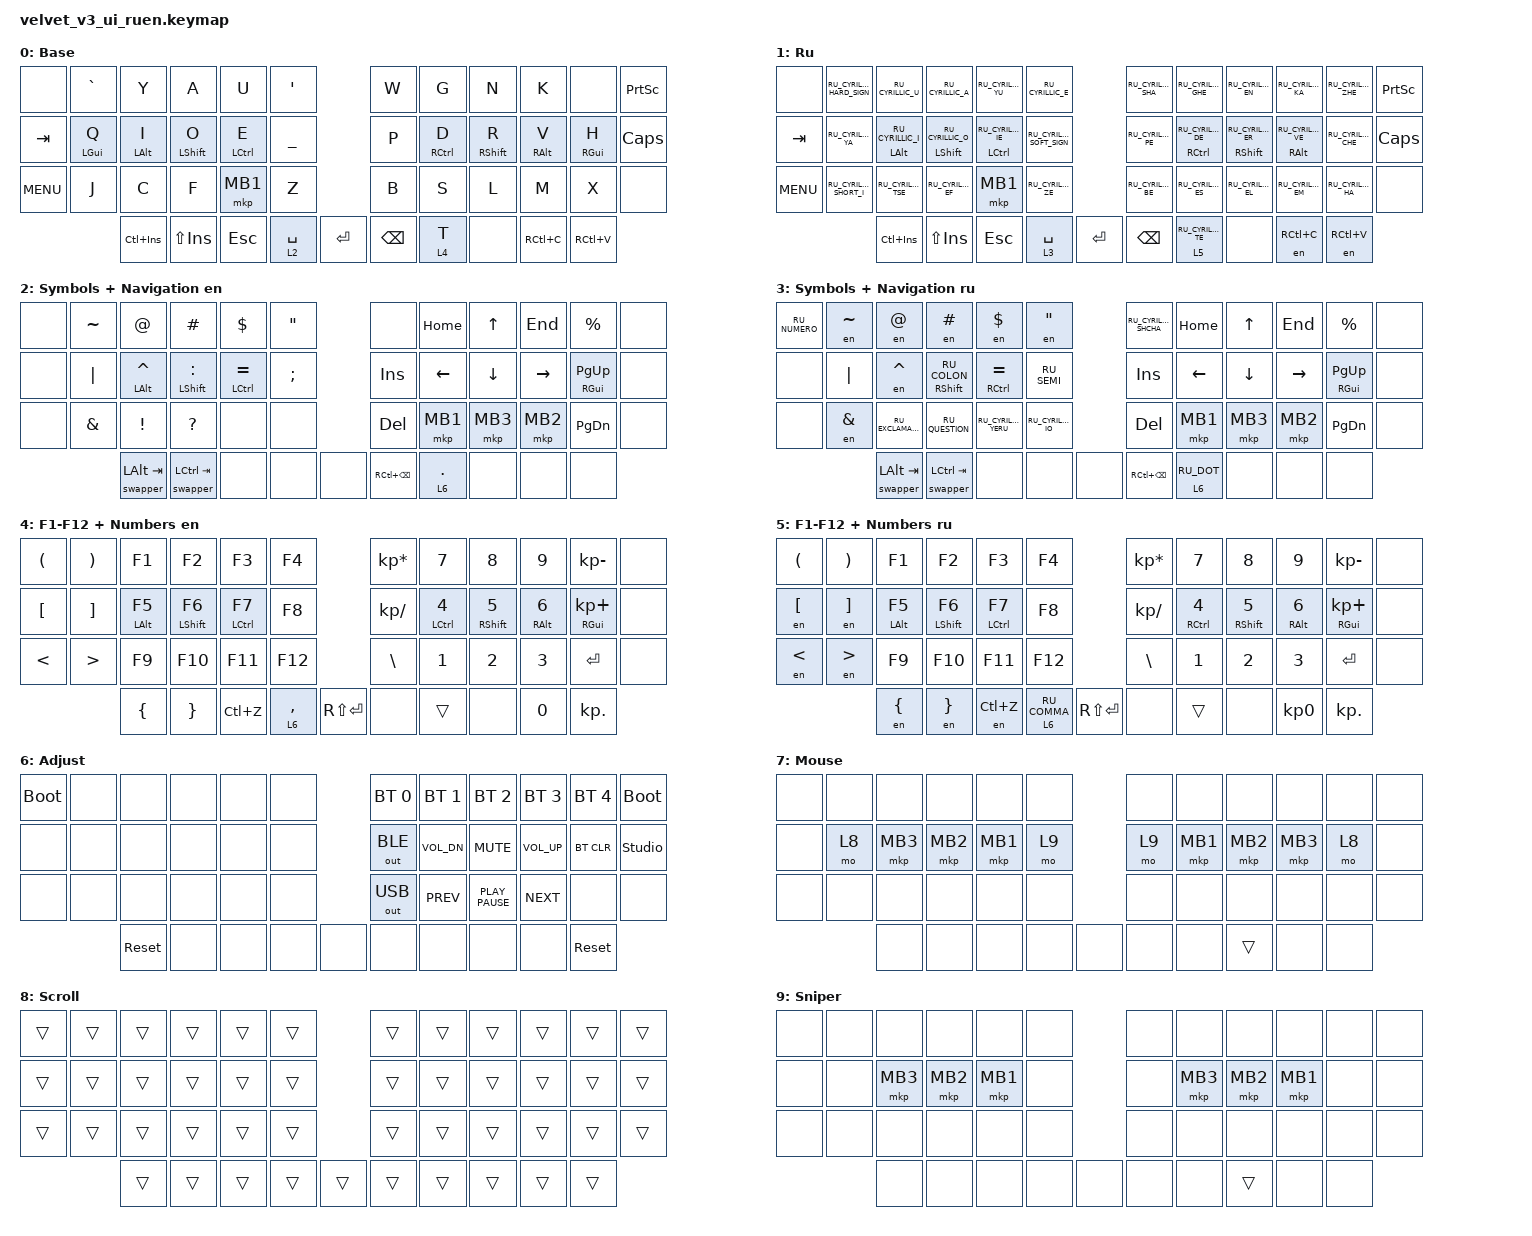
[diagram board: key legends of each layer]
#include "keys_ru.h"
#include <dt-bindings/zmk/input_transform.h>
#include <input/processors.dtsi>
#include <zephyr/dt-bindings/input/input-event-codes.h>
#include <behaviors.dtsi>
#include <dt-bindings/zmk/bt.h>
#include <dt-bindings/zmk/keys.h>
#include <dt-bindings/zmk/outputs.h>
#include <dt-bindings/zmk/pointing.h>

/ {
    behaviors {
        cap_sen: cap_sen {
            compatible = "zmk,behavior-hold-tap";
            label = "CAP_SEN";
            bindings = <&mo>, <&kp>;

            #binding-cells = <2>;
            tapping-term-ms = <150>;
            hold-while-undecided;
        };

        mouse_layer: mouse_layer {
            compatible = "zmk,behavior-sticky-key";
            label = "MOUSE_LAYER";
            bindings = <&mo>;
            #binding-cells = <1>;
            release-after-ms = <200>;
        };

        stiky_swap: stiky_swap {
            compatible = "zmk,behavior-sticky-key";
            label = "STIKY_SWAP";
            bindings = <&kp>;
            #binding-cells = <1>;
            release-after-ms = <1000>;
        };

        hml: home_row_mod_left {
            compatible = "zmk,behavior-hold-tap";
            label = "HRM_LEFT";
            #binding-cells = <2>;
            bindings = <&kp>, <&kp>;

            tapping-term-ms = <280>;
            flavor = "balanced";
            quick-tap-ms = <175>;
            require-prior-idle-ms = <125>;
            hold-trigger-key-positions = <6 7 8 9 10 11 23 22 21 20 19 18 30 31 32 33 34 35 44 45 42 41 43>;
            hold-trigger-on-release;
        };

        hmr: home_row_mod_right {
            compatible = "zmk,behavior-hold-tap";
            label = "HRM_RIGHT";
            #binding-cells = <2>;
            bindings = <&kp>, <&kp>;

            tapping-term-ms = <280>;
            flavor = "balanced";
            quick-tap-ms = <175>;
            require-prior-idle-ms = <125>;
            hold-trigger-on-release;
            hold-trigger-key-positions = <0 1 2 3 4 4 5 12 13 14 15 16 17 29 27 28 26 25 24 37 36 38 39 40>;
        };

        lt2: lt2 {
            compatible = "zmk,behavior-hold-tap";
            label = "LT2";
            bindings = <&mo>, <&kp>;

            #binding-cells = <2>;
            tapping-term-ms = <250>;
            hold-while-undecided;
            quick-tap-ms = <175>;
            require-prior-idle-ms = <125>;
        };

        zip_auto_mouse: zip_auto_mouse {
            compatible = "zmk,input-processor-temp-layer";
            #input-processor-cells = <2>;
            require-prior-idle-ms = <800>;
            excluded-positions = <>;
        };
    };

    combos {
        compatible = "zmk,combos";

        cmben {
            bindings = <&layer_en>;
            key-positions = <3 2>;
        };

        cmbru {
            bindings = <&layer_ru>;
            key-positions = <8 9>;
        };

        LeftReset {
            bindings = <&sys_reset>;
            key-positions = <12 13>;
            timeout-ms = <100>;
        };

        RightReset {
            bindings = <&sys_reset>;
            key-positions = <23 22>;
            timeout-ms = <100>;
        };

        LeftMapLoad {
            bindings = <&bootloader>;
            key-positions = <24 25>;
            require-prior-idle-ms = <100>;
        };

        RightMapLoad {
            bindings = <&bootloader>;
            key-positions = <34 35>;
            require-prior-idle-ms = <100>;
        };
    };

    macros {
        to_ru: to_ru {
            compatible = "zmk,behavior-macro";
            #binding-cells = <0>;
            bindings =
                <&macro_press>,
                <&kp RIGHT_CONTROL>,
                <&macro_wait_time 25>,
                <&kp K_CONTEXT_MENU>,
                <&macro_pause_for_release>,
                <&macro_release>,
                <&kp K_APP &kp RIGHT_CONTROL>,
                <&macro_tap>,
                <&macro_wait_time 50>;

            label = "TO_RU";
            wait-ms = <0>;
            tap-ms = <30>;
        };

        to_en: to_en {
            compatible = "zmk,behavior-macro";
            #binding-cells = <0>;
            bindings =
                <&macro_press>,
                <&kp LCTRL>,
                <&macro_wait_time 25>,
                <&kp LEFT_GUI>,
                <&macro_pause_for_release>,
                <&macro_release>,
                <&kp LEFT_GUI &kp LEFT_CONTROL>,
                <&macro_tap>,
                <&macro_wait_time 50>;

            label = "TO_EN";
            wait-ms = <0>;
            tap-ms = <30>;
        };

        en: en {
            compatible = "zmk,behavior-macro-one-param";
            #binding-cells = <1>;
            bindings =
                <&macro_press>,
                <&kp LEFT_CONTROL>,
                <&macro_wait_time 25>,
                <&kp LEFT_GUI>,
                <&macro_pause_for_release>,
                <&macro_release>,
                <&kp LEFT_GUI &kp LEFT_CONTROL>,
                <&macro_wait_time 25>,
                <&macro_press>,
                <&macro_param_1to1 &kp MACRO_PLACEHOLDER>,
                <&macro_pause_for_release>,
                <&macro_release>,
                <&macro_param_1to1 &kp MACRO_PLACEHOLDER>,
                <&macro_wait_time 25>,
                <&macro_press>,
                <&kp RIGHT_CONTROL>,
                <&macro_wait_time 25>,
                <&kp K_CONTEXT_MENU>,
                <&macro_pause_for_release>,
                <&macro_release>,
                <&kp K_CONTEXT_MENU &kp RIGHT_CONTROL>,
                <&macro_tap>;

            label = "EN";
            wait-ms = <0>;
            tap-ms = <30>;
        };

        layer_en: layer_en {
            compatible = "zmk,behavior-macro";
            #binding-cells = <0>;
            bindings = <&to 0 &to_en>;
            label = "LAYER_EN";
            wait-ms = <0>;
            tap-ms = <30>;
        };

        layer_ru: layer_ru {
            compatible = "zmk,behavior-macro";
            #binding-cells = <0>;
            bindings = <&to 1 &to_ru>;
            label = "LAYER_RU";
            wait-ms = <0>;
            tap-ms = <30>;
        };

        sen_mo: sen_mo {
            compatible = "zmk,behavior-macro-one-param";
            #binding-cells = <1>;
            bindings =
                <&macro_wait_time 150>,
                <&macro_press>,
                <&macro_param_1to1 &mo MACRO_PLACEHOLDER>,
                <&macro_pause_for_release>,
                <&macro_release>,
                <&macro_param_1to1 &mo MACRO_PLACEHOLDER>,
                <&macro_press>;

            label = "SEN_MO";
        };

        swapper: swapper {
            compatible = "zmk,behavior-macro-two-param";
            #binding-cells = <2>;
            bindings =
                <&macro_press>,
                <&macro_param_1to1 &kp MACRO_PLACEHOLDER>,
                <&macro_tap>,
                <&macro_param_2to1 &kp MACRO_PLACEHOLDER &macro_param_1to1 &stiky_swap MACRO_PLACEHOLDER>,
                <&macro_release>,
                <&macro_param_1to1 &kp MACRO_PLACEHOLDER>;

            label = "SWAPPER";
        };
    };

    keymap {
        compatible = "zmk,keymap";

        en {
            bindings = <
&none       &kp GRAVE        &kp Y            &kp A              &kp U                &kp SQT                                   &kp W     &kp G         &kp N               &kp K             &none             &kp PRINTSCREEN
&kp TAB     &hml LEFT_GUI Q  &hml LEFT_ALT I  &hml LEFT_SHIFT O  &hml LEFT_CONTROL E  &kp UNDER                                 &kp P     &hmr RCTRL D  &hmr RIGHT_SHIFT R  &hmr RIGHT_ALT V  &hmr RIGHT_GUI H  &kp CAPSLOCK
&kp K_MENU  &kp J            &kp C            &kp F              &mkp MB1             &kp Z                                     &kp B     &kp S         &kp L               &kp M             &kp X             &none
                             &kp LC(INSERT)   &kp LS(INSERT)     &kp ESC              &lt2 2 SPACE  &kp ENTER    &kp BACKSPACE  &lt2 4 T  &none         &kp RC(C)           &kp RC(V)
            >;

            display-name = "Base";
        };

        ru {
            display-name = "Ru";
            bindings = <
&none       &kp RU_CYRILLIC_HARD_SIGN  &kp RU_CYRILLIC_U            &kp RU_CYRILLIC_A              &kp RU_CYRILLIC_YU                &kp RU_CYRILLIC_E                                      &kp RU_CYRILLIC_SHA    &kp RU_CYRILLIC_GHE                &kp RU_CYRILLIC_EN               &kp RU_CYRILLIC_KA             &kp RU_CYRILLIC_ZHE  &kp PRINTSCREEN
&kp TAB     &kp RU_CYRILLIC_YA         &hml LEFT_ALT RU_CYRILLIC_I  &hml LEFT_SHIFT RU_CYRILLIC_O  &hml LEFT_CONTROL RU_CYRILLIC_IE  &kp RU_CYRILLIC_SOFT_SIGN                              &kp RU_CYRILLIC_PE     &hmr RIGHT_CONTROL RU_CYRILLIC_DE  &hmr RIGHT_SHIFT RU_CYRILLIC_ER  &hmr RIGHT_ALT RU_CYRILLIC_VE  &kp RU_CYRILLIC_CHE  &kp CAPSLOCK
&kp K_MENU  &kp RU_CYRILLIC_SHORT_I    &kp RU_CYRILLIC_TSE          &kp RU_CYRILLIC_EF             &mkp MB1                          &kp RU_CYRILLIC_ZE                                     &kp RU_CYRILLIC_BE     &kp RU_CYRILLIC_ES                 &kp RU_CYRILLIC_EL               &kp RU_CYRILLIC_EM             &kp RU_CYRILLIC_HA   &none
                                       &kp LC(INSERT)               &kp LS(INSERT)                 &kp ESC                           &lt2 3 SPACE               &kp ENTER    &kp BACKSPACE  &lt2 5 RU_CYRILLIC_TE  &none                              &en RC(C)                        &en RC(V)
            >;
        };

        sym_nav_en {
            bindings = <
&none  &kp TILDE  &kp AT                 &kp HASH               &kp DOLLAR        &kp DQT                               &none       &kp HOME        &kp UP          &kp END          &kp PRCNT             &none
&none  &kp PIPE   &hml LEFT_ALT CARET    &hml LEFT_SHIFT COLON  &hml LCTRL EQUAL  &kp SEMI                              &kp INS     &kp LEFT_ARROW  &kp DOWN_ARROW  &kp RIGHT_ARROW  &hmr RIGHT_GUI PG_UP  &none
&none  &kp AMPS   &kp EXCL               &kp QMARK              &none             &none                                 &kp DEL     &mkp MB1        &mkp MB3        &mkp MB2         &kp PG_DN             &none
                  &swapper LEFT_ALT TAB  &swapper LCTRL TAB     &none             &none     &none    &kp RC(BACKSPACE)  &lt2 6 DOT  &none           &none           &none
            >;

            display-name = "Symbols  + Navigation en";
        };

        sym_nav_ru {
            display-name = "Symbols + Navigation ru";
            bindings = <
&kp RU_NUMERO  &en TILDE  &en AT                 &en HASH                   &en DOLLAR                &en DQT                                         &kp RU_CYRILLIC_SHCHA  &kp HOME        &kp UP          &kp END          &kp PRCNT             &none
&none          &kp PIPE   &en CARET              &hml RIGHT_SHIFT RU_COLON  &hml RIGHT_CONTROL EQUAL  &kp RU_SEMI                                     &kp INS                &kp LEFT_ARROW  &kp DOWN_ARROW  &kp RIGHT_ARROW  &hmr RIGHT_GUI PG_UP  &none
&none          &en AMPS   &kp RU_EXCLAMATION     &kp RU_QUESTION            &kp RU_CYRILLIC_YERU      &kp RU_CYRILLIC_IO                              &kp DEL                &mkp MB1        &mkp MB3        &mkp MB2         &kp PG_DN             &none
                          &swapper LEFT_ALT TAB  &swapper LCTRL TAB         &none                     &none               &none    &kp RC(BACKSPACE)  &lt2 6 RU_DOT          &none           &none           &none
            >;
        };

        fn_num_en {
            bindings = <
&kp LPAR          &kp RPAR           &kp F1            &kp F2              &kp F3                &kp F4                                &kp KP_ASTERISK  &kp N7               &kp N8                     &kp N9             &kp KP_MINUS       &none
&kp LEFT_BRACKET  &kp RIGHT_BRACKET  &hml LEFT_ALT F5  &hml LEFT_SHIFT F6  &hml LEFT_CONTROL F7  &kp F8                                &kp KP_SLASH     &hmr LCTRL NUMBER_4  &hmr RIGHT_SHIFT NUMBER_5  &hmr RIGHT_ALT N6  &hmr RGUI KP_PLUS  &none
&kp LESS_THAN     &kp GREATER_THAN   &kp F9            &kp F10             &kp F11               &kp F12                               &kp BSLH         &kp N1               &kp NUMBER_2               &kp NUMBER_3       &kp ENTER          &none
                                     &kp LEFT_BRACE    &kp RIGHT_BRACE     &kp LC(Z)             &lt2 6 COMMA  &kp RS(ENTER)    &none  &trans           &none                &kp N0                     &kp KP_DOT
            >;

            display-name = "F1-F12 + Numbers en";
        };

        fn_num_ru {
            display-name = "F1-F12 + Numbers ru";
            bindings = <
&kp LPAR          &kp RPAR           &kp F1            &kp F2              &kp F3                &kp F4                                   &kp KP_ASTERISK  &kp N7               &kp N8                     &kp N9             &kp KP_MINUS       &none
&en LEFT_BRACKET  &en RIGHT_BRACKET  &hml LEFT_ALT F5  &hml LEFT_SHIFT F6  &hml LEFT_CONTROL F7  &kp F8                                   &kp KP_DIVIDE    &hmr RCTRL NUMBER_4  &hmr RIGHT_SHIFT NUMBER_5  &hmr RIGHT_ALT N6  &hmr RGUI KP_PLUS  &none
&en LESS_THAN     &en GREATER_THAN   &kp F9            &kp F10             &kp F11               &kp F12                                  &kp BACKSLASH    &kp N1               &kp NUMBER_2               &kp NUMBER_3       &kp ENTER          &none
                                     &en LEFT_BRACE    &en RIGHT_BRACE     &en LC(Z)             &lt2 6 RU_COMMA  &kp RS(ENTER)    &none  &trans           &none                &kp KP_N0                  &kp KP_DOT
            >;
        };

        adj {
            bindings = <
&bootloader  &none  &none       &none  &none  &none                  &bt BT_SEL 0  &bt BT_SEL 1  &bt BT_SEL 2      &bt BT_SEL 3  &bt BT_SEL 4  &bootloader
&none        &none  &none       &none  &none  &none                  &out OUT_BLE  &kp C_VOL_DN  &kp K_MUTE        &kp C_VOL_UP  &bt BT_CLR    &studio_unlock
&none        &none  &none       &none  &none  &none                  &out OUT_USB  &kp K_PREV    &kp K_PLAY_PAUSE  &kp K_NEXT    &none         &none
                    &sys_reset  &none  &none  &none  &none    &none  &none         &none         &none             &sys_reset
            >;

            display-name = "Adjust";
        };

        mouse {
            bindings = <
&none  &none  &none     &none     &none     &none                  &none  &none     &none     &none     &none  &none
&none  &mo 8  &mkp MB3  &mkp MB2  &mkp MB1  &mo 9                  &mo 9  &mkp MB1  &mkp MB2  &mkp MB3  &mo 8  &none
&none  &none  &none     &none     &none     &none                  &none  &none     &none     &none     &none  &none
              &none     &none     &none     &none  &none    &none  &none  &trans    &none     &none
            >;

            display-name = "Mouse";
        };

        scroll {
            bindings = <
&trans  &trans  &trans  &trans  &trans  &trans                    &trans  &trans  &trans  &trans  &trans  &trans
&trans  &trans  &trans  &trans  &trans  &trans                    &trans  &trans  &trans  &trans  &trans  &trans
&trans  &trans  &trans  &trans  &trans  &trans                    &trans  &trans  &trans  &trans  &trans  &trans
                &trans  &trans  &trans  &trans  &trans    &trans  &trans  &trans  &trans  &trans
            >;

            display-name = "Scroll";
        };

        sniper {
            bindings = <
&none  &none  &none     &none     &none     &none                  &none  &none     &none     &none     &none  &none
&none  &none  &mkp MB3  &mkp MB2  &mkp MB1  &none                  &none  &mkp MB3  &mkp MB2  &mkp MB1  &none  &none
&none  &none  &none     &none     &none     &none                  &none  &none     &none     &none     &none  &none
              &none     &none     &none     &none  &none    &none  &none  &trans    &none     &none
            >;

            display-name = "Sniper";
        };
    };
};

&trackball { cpi = <1400>; };

&trackball_listener {
    input-processors = <&zip_xy_scaler 9 20>;

    scroller {
        layers = <2 3>;
        input-processors =
            <&zip_xy_transform INPUT_TRANSFORM_Y_INVERT>,
            <&zip_xy_scaler 1 128>,
            <&zip_xy_to_scroll_mapper>;
    };

    sniper {
        layers = <9>;
        input-processors = <&zip_xy_scaler 1 4>;
    };
};
